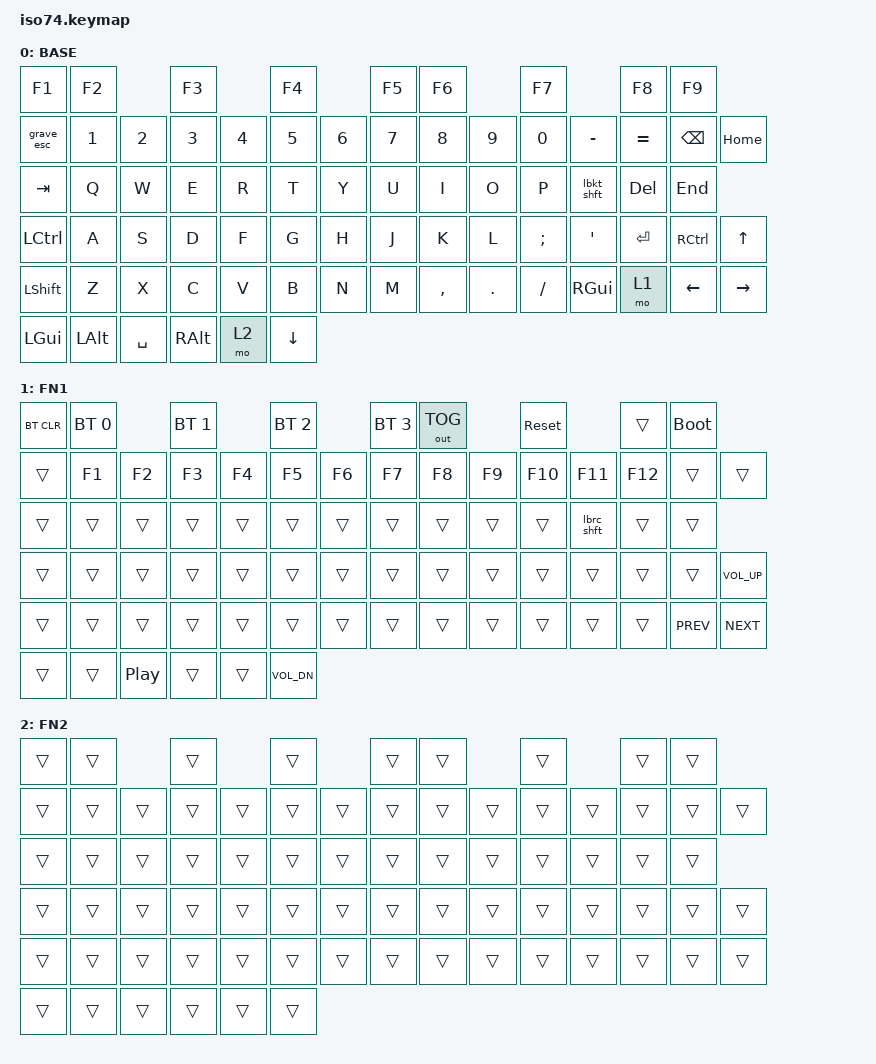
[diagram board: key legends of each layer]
/*
 * iso74 - real keymap (built from the discovery scan)
 *
 * layer 0 base : the physical QWERTY/ISO layout.
 *                [ morphs to ] when shift is held (there is no dedicated ] key).
 *                esc morphs to ` (grave) when shift is held.
 *                the rshift key is NOT shift: it sends RGUI (unused otherwise),
 *                which the host keymap (~/.config/hypr/iso74-latvian.xkb) turns
 *                into a latvian accent key: tap it then a = ā, or hold it while
 *                typing = ā. capitals via lshift. no hold-tap: a shift/accent
 *                dual key guessed from timing and misfired (fast capitals = ī).
 *                RGUI not F24: terminals encode F24 by physical key and print a
 *                stray glyph; a modifier key press is never reported as text.
 * layer 1 fn1  : hold the fn1 key (right of RShift). F1-F12 on the number row,
 *                bluetooth select/clear + output toggle + reset + bootloader on the
 *                top row, media on the arrows (up/dn = vol, L/R = prev/next, space = play).
 *                fn1 + [ = {   and   fn1 + shift + [ = }.
 * layer 2 fn2  : hold the fn2 key (right of RAlt). Blank canvas - fill it in.
 */

#include <behaviors.dtsi>
#include <dt-bindings/zmk/keys.h>
#include <dt-bindings/zmk/bt.h>
#include <dt-bindings/zmk/outputs.h>

/ {
	behaviors {
		/* [ normally; ] when shift held. Shift is masked so it is ] not }. */
		lbkt_shft: lbkt_shft {
			compatible = "zmk,behavior-mod-morph";
			#binding-cells = <0>;
			bindings = <&kp LBKT>, <&kp RBKT>;
			mods = <(MOD_LSFT|MOD_RSFT)>;
		};

		/* { normally; } when shift held. Sits on fn1 over the [ key. */
		lbrc_shft: lbrc_shft {
			compatible = "zmk,behavior-mod-morph";
			#binding-cells = <0>;
			bindings = <&kp LBRC>, <&kp RBRC>;
			mods = <(MOD_LSFT|MOD_RSFT)>;
		};

		/* esc normally; ` (grave) when shift held (shift masked -> ` not ~). */
		grave_esc: grave_esc {
			compatible = "zmk,behavior-mod-morph";
			#binding-cells = <0>;
			bindings = <&kp ESC>, <&kp GRAVE>;
			mods = <(MOD_LSFT|MOD_RSFT)>;
		};
	};

	keymap {
		compatible = "zmk,keymap";

		base_layer {
			label = "BASE";
			bindings = <
				&kp F1  &kp F2  &kp F3  &kp F4  &kp F5  &kp F6  &kp F7  &kp F8  &kp F9
				&grave_esc  &kp N1  &kp N2  &kp N3  &kp N4  &kp N5  &kp N6  &kp N7  &kp N8  &kp N9  &kp N0  &kp MINUS  &kp EQUAL  &kp BSPC  &kp HOME
				&kp TAB  &kp Q  &kp W  &kp E  &kp R  &kp T  &kp Y  &kp U  &kp I  &kp O  &kp P  &lbkt_shft  &kp DEL  &kp END
				&kp LCTRL  &kp A  &kp S  &kp D  &kp F  &kp G  &kp H  &kp J  &kp K  &kp L  &kp SEMI  &kp SQT  &kp RET  &kp RCTRL  &kp UP
				&kp LSHFT  &kp Z  &kp X  &kp C  &kp V  &kp B  &kp N  &kp M  &kp COMMA  &kp DOT  &kp FSLH  &kp RGUI  &mo 1  &kp LEFT  &kp RIGHT
				&kp LGUI  &kp LALT  &kp SPACE  &kp RALT  &mo 2  &kp DOWN
			>;
		};

		fn1_layer {
			label = "FN1";
			bindings = <
				&bt BT_CLR  &bt BT_SEL 0  &bt BT_SEL 1  &bt BT_SEL 2  &bt BT_SEL 3  &out OUT_TOG  &sys_reset  &trans  &bootloader
				&trans  &kp F1  &kp F2  &kp F3  &kp F4  &kp F5  &kp F6  &kp F7  &kp F8  &kp F9  &kp F10  &kp F11  &kp F12  &trans  &trans
				&trans  &trans  &trans  &trans  &trans  &trans  &trans  &trans  &trans  &trans  &trans  &lbrc_shft  &trans  &trans
				&trans  &trans  &trans  &trans  &trans  &trans  &trans  &trans  &trans  &trans  &trans  &trans  &trans  &trans  &kp C_VOL_UP
				&trans  &trans  &trans  &trans  &trans  &trans  &trans  &trans  &trans  &trans  &trans  &trans  &trans  &kp C_PREV  &kp C_NEXT
				&trans  &trans  &kp C_PP  &trans  &trans  &kp C_VOL_DN
			>;
		};

		fn2_layer {
			label = "FN2";
			bindings = <
				&trans  &trans  &trans  &trans  &trans  &trans  &trans  &trans  &trans
				&trans  &trans  &trans  &trans  &trans  &trans  &trans  &trans  &trans  &trans  &trans  &trans  &trans  &trans  &trans
				&trans  &trans  &trans  &trans  &trans  &trans  &trans  &trans  &trans  &trans  &trans  &trans  &trans  &trans
				&trans  &trans  &trans  &trans  &trans  &trans  &trans  &trans  &trans  &trans  &trans  &trans  &trans  &trans  &trans
				&trans  &trans  &trans  &trans  &trans  &trans  &trans  &trans  &trans  &trans  &trans  &trans  &trans  &trans  &trans
				&trans  &trans  &trans  &trans  &trans  &trans
			>;
		};
	};
};
